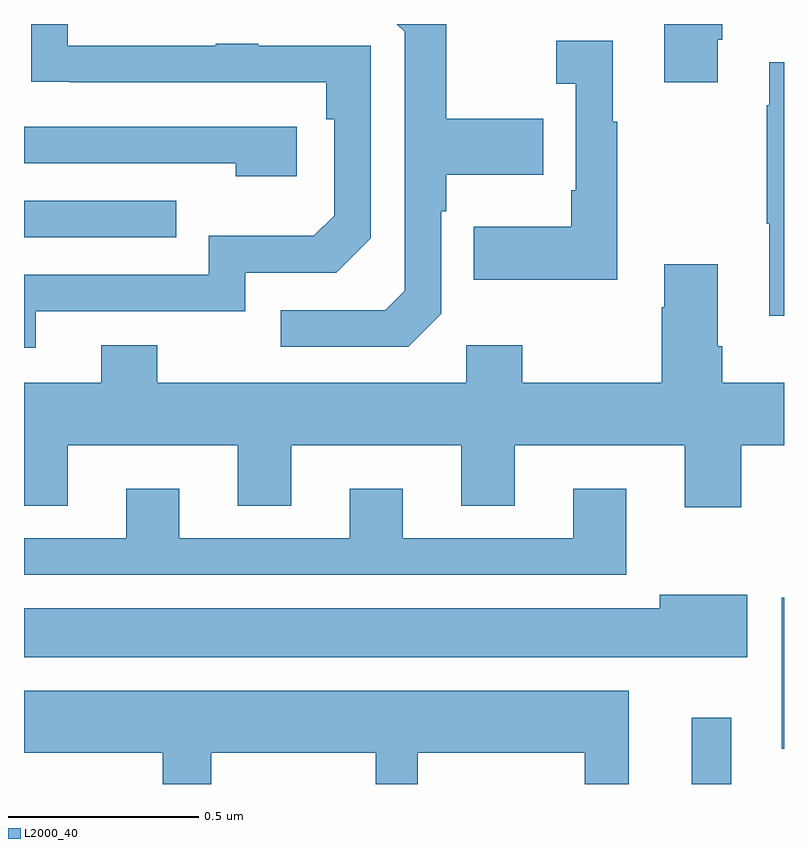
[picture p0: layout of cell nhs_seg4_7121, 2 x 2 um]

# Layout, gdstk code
import gdstk
lib = gdstk.Library(unit=1e-6, precision=1e-09)
def R(c, l, rs):  # rectangles x0, y0, x1, y1
    for r in rs: c.add(gdstk.rectangle(r[:2], r[2:], *l))
def P(c, l, *ps):  # polygons
    for p in ps: c.add(gdstk.Polygon(p, *l))
L2000_40 = (2000, 40)

nhs_seg4_7121 = lib.new_cell('nhs_seg4_7121')
R(nhs_seg4_7121, L2000_40, [(199.757,823.9,199.861,824.074), (199.994,823.993,200,824.39), (198,825.339,198.401,825.435)])
P(nhs_seg4_7121, L2000_40, [(199.825,825.859),(199.838,825.859),(199.838,825.9),(199.685,825.9),(199.685,825.747),(199.825,825.747)],
  [(198.031,825.144),(198.582,825.144),(198.582,825.246),(198.822,825.246),(198.912,825.336),(198.912,825.843),(198.617,825.843),(198.617,825.848),(198.505,825.848),(198.505,825.843),(198.115,825.843),(198.115,825.9),(198.019,825.9),(198.019,825.748),(198.121,825.748),(198.121,825.747),(198.796,825.747),(198.796,825.65),(198.816,825.65),(198.816,825.396),(198.763,825.343),(198.486,825.343),(198.486,825.24),(198,825.24),(198,825.048),(198.031,825.048)],
  [(199.098,825.138),(199.098,825.407),(199.111,825.407),(199.111,825.503),(199.367,825.503),(199.367,825.651),(199.111,825.651),(199.111,825.9),(198.981,825.9),(199.002,825.879),(199.002,825.198),(198.951,825.147),(198.675,825.147),(198.675,825.051),(199.011,825.051)],
  [(199.561,825.643),(199.549,825.643),(199.549,825.856),(199.401,825.856),(199.401,825.743),(199.452,825.743),(199.452,825.463),(199.44,825.463),(199.44,825.367),(199.183,825.367),(199.183,825.227),(199.561,825.227)],
  [(200,825.799),(199.961,825.799),(199.961,825.686),(199.954,825.686),(199.954,825.375),(199.961,825.375),(199.961,825.132),(200,825.132)],
  [(198.718,825.63),(198,825.63),(198,825.534),(198.557,825.534),(198.557,825.5),(198.718,825.5)],
  [(199.887,824.792),(200,824.792),(200,824.956),(199.838,824.956),(199.838,825.052),(199.825,825.052),(199.825,825.268),(199.685,825.268),(199.685,825.155),(199.678,825.155),(199.678,824.956),(199.311,824.956),(199.311,825.055),(199.164,825.055),(199.164,824.956),(198.351,824.956),(198.351,825.055),(198.203,825.055),(198.203,824.956),(198,824.956),(198,824.632),(198.115,824.632),(198.115,824.792),(198.563,824.792),(198.563,824.632),(198.703,824.632),(198.703,824.792),(199.151,824.792),(199.151,824.632),(199.291,824.632),(199.291,824.792),(199.739,824.792),(199.739,824.628),(199.887,824.628)],
  [(199.585,824.677),(199.445,824.677),(199.445,824.547),(198.997,824.547),(198.997,824.677),(198.857,824.677),(198.857,824.547),(198.409,824.547),(198.409,824.677),(198.269,824.677),(198.269,824.547),(198,824.547),(198,824.451),(199.585,824.451)],
  [(199.903,824.398),(199.673,824.398),(199.673,824.362),(198,824.362),(198,824.234),(199.903,824.234)],
  [(198.493,823.982),(198.926,823.982),(198.926,823.9),(199.036,823.9),(199.036,823.982),(199.475,823.982),(199.475,823.9),(199.591,823.9),(199.591,824.146),(198,824.146),(198,823.982),(198.365,823.982),(198.365,823.9),(198.493,823.9)])

lib.write_gds('nhs_seg4_7121.gds')
